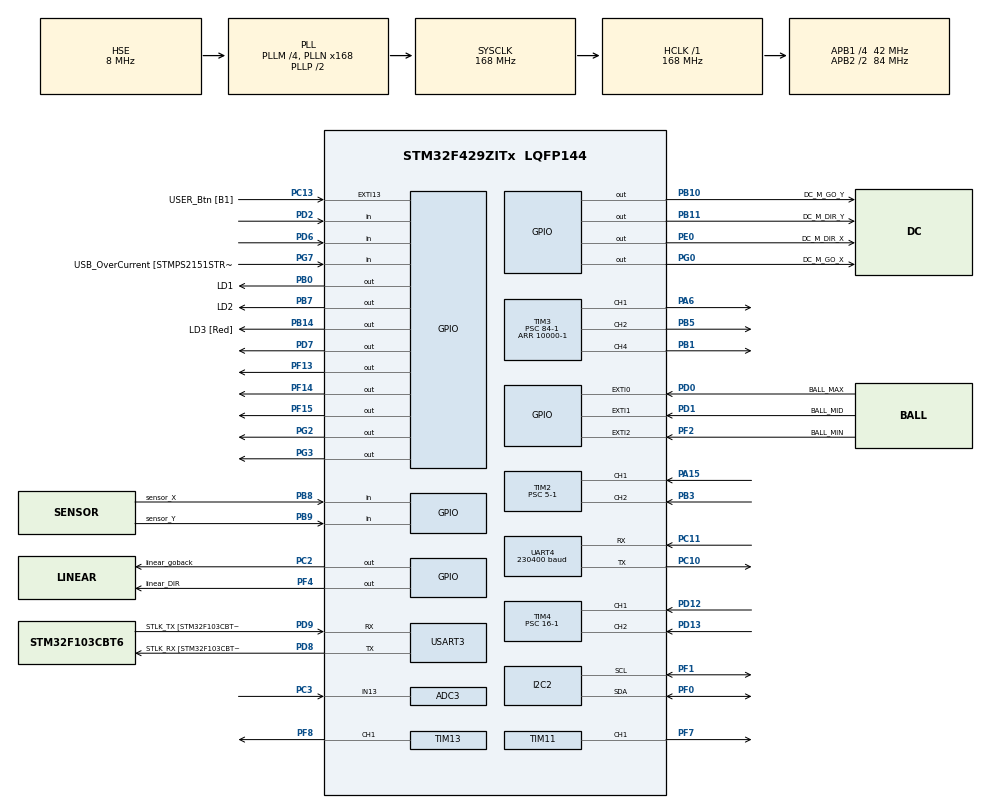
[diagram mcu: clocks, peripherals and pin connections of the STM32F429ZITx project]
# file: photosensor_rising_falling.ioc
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ADC3.Channel-3\#ChannelRegularConversion=ADC_CHANNEL_13
ADC3.Channel-4\#ChannelRegularConversion=ADC_CHANNEL_10
ADC3.Channel-5\#ChannelRegularConversion=ADC_CHANNEL_11
ADC3.ContinuousConvMode=DISABLE
ADC3.DMAContinuousRequests=ENABLE
ADC3.DiscontinuousConvMode=ENABLE
ADC3.ExternalTrigConv=ADC_EXTERNALTRIGCONV_T8_TRGO
ADC3.NbrOfConversion=3
ADC3.NbrOfConversionFlag=1
ADC3.NbrOfDiscConversion=3
ADC3.Rank-3\#ChannelRegularConversion=1
ADC3.Rank-4\#ChannelRegularConversion=2
ADC3.Rank-5\#ChannelRegularConversion=3
ADC3.Resolution=ADC_RESOLUTION_12B
ADC3.SamplingTime-3\#ChannelRegularConversion=ADC_SAMPLETIME_480CYCLES
ADC3.SamplingTime-4\#ChannelRegularConversion=ADC_SAMPLETIME_480CYCLES
ADC3.SamplingTime-5\#ChannelRegularConversion=ADC_SAMPLETIME_480CYCLES
ADC3.ScanConvMode=ENABLE
Dma.ADC3.0.Direction=DMA_PERIPH_TO_MEMORY
Dma.ADC3.0.FIFOMode=DMA_FIFOMODE_DISABLE
Dma.ADC3.0.Instance=DMA2_Stream1
Dma.ADC3.0.MemDataAlignment=DMA_MDATAALIGN_HALFWORD
Dma.ADC3.0.MemInc=DMA_MINC_ENABLE
Dma.ADC3.0.Mode=DMA_CIRCULAR
Dma.ADC3.0.PeriphDataAlignment=DMA_PDATAALIGN_HALFWORD
Dma.ADC3.0.PeriphInc=DMA_PINC_DISABLE
Dma.ADC3.0.Priority=DMA_PRIORITY_LOW
Dma.Request0=ADC3
Mcu.Family=STM32F4
Mcu.Name=STM32F429ZITx
Mcu.Package=LQFP144
NVIC.ADC_IRQn=true\:14\:0\:true\:false\:true\:true\:true\:true
NVIC.DMA2_Stream1_IRQn=true\:0\:0\:false\:false\:true\:false\:true\:true
NVIC.EXTI0_IRQn=true\:2\:0\:true\:false\:true\:true\:true\:true
NVIC.EXTI15_10_IRQn=true\:0\:0\:false\:false\:true\:true\:true\:true
NVIC.EXTI1_IRQn=true\:2\:0\:true\:false\:true\:true\:true\:true
NVIC.EXTI2_IRQn=true\:2\:0\:true\:false\:true\:true\:true\:true
NVIC.PriorityGroup=NVIC_PRIORITYGROUP_4
NVIC.TIM1_TRG_COM_TIM11_IRQn=true\:0\:0\:true\:false\:true\:true\:true\:true
NVIC.TIM5_IRQn=true\:0\:0\:false\:false\:true\:true\:true\:true
NVIC.TIM6_DAC_IRQn=true\:0\:0\:true\:false\:true\:true\:true\:true
NVIC.TIM7_IRQn=true\:0\:0\:true\:false\:true\:true\:true\:true
NVIC.TIM8_TRG_COM_TIM14_IRQn=true\:0\:0\:true\:false\:true\:true\:true\:true
NVIC.TIM8_UP_TIM13_IRQn=true\:0\:0\:true\:false\:true\:true\:true\:true
NVIC.UART4_IRQn=true\:15\:0\:true\:false\:true\:true\:true\:true
NVIC.USART3_IRQn=true\:15\:0\:true\:false\:true\:true\:true\:true
PA13.GPIO_Label=TMS
PA13.Mode=Serial_Wire
PA13.Signal=SYS_JTMS-SWDIO
PA14.GPIO_Label=TCK
PA14.Mode=Serial_Wire
PA14.Signal=SYS_JTCK-SWCLK
PA15.GPIO_Speed=GPIO_SPEED_FREQ_VERY_HIGH
PA15.Signal=S_TIM2_CH1_ETR
PA6.GPIO_Speed=GPIO_SPEED_FREQ_VERY_HIGH
PA6.Signal=S_TIM3_CH1
PB0.GPIO_Label=LD1
PB0.Signal=GPIO_Output
PB1.GPIO_Speed=GPIO_SPEED_FREQ_VERY_HIGH
PB1.Signal=S_TIM3_CH4
PB10.GPIO_Label=DC_M_GO_Y
PB10.GPIO_Speed=GPIO_SPEED_FREQ_LOW
PB10.Signal=GPIO_Output
PB11.GPIO_Label=DC_M_DIR_Y
PB11.GPIO_Speed=GPIO_SPEED_FREQ_VERY_HIGH
PB11.Signal=GPIO_Output
PB14.GPIO_Label=LD3 [Red]
PB14.Signal=GPIO_Output
PB3.GPIO_Speed=GPIO_SPEED_FREQ_VERY_HIGH
PB3.Signal=S_TIM2_CH2
PB5.GPIO_Speed=GPIO_SPEED_FREQ_VERY_HIGH
PB5.Signal=S_TIM3_CH2
PB7.GPIO_Label=LD2
PB7.Signal=GPIO_Output
PB8.GPIO_Label=sensor_X
PB8.Signal=GPIO_Input
PB9.GPIO_Label=sensor_Y
PB9.Signal=GPIO_Input
PC10.Mode=Asynchronous
PC10.Signal=UART4_TX
PC11.Mode=Asynchronous
PC11.Signal=UART4_RX
PC13.GPIO_Label=USER_Btn [B1]
PC13.Signal=GPXTI13
PC14/OSC32_IN.Mode=LSE-External-Oscillator
PC14/OSC32_IN.Signal=RCC_OSC32_IN
PC15/OSC32_OUT.Mode=LSE-External-Oscillator
PC15/OSC32_OUT.Signal=RCC_OSC32_OUT
PC2.GPIO_Label=linear_goback
PC2.Signal=GPIO_Output
PC3.Signal=ADCx_IN13
PD0.GPIO_Label=BALL_MAX
PD0.GPIO_ModeDefaultEXTI=GPIO_MODE_IT_FALLING
PD0.Signal=GPXTI0
PD1.GPIO_Label=BALL_MID
PD1.GPIO_ModeDefaultEXTI=GPIO_MODE_IT_FALLING
PD1.Signal=GPXTI1
PD12.GPIO_Speed=GPIO_SPEED_FREQ_VERY_HIGH
PD12.Signal=S_TIM4_CH1
PD13.GPIO_Speed=GPIO_SPEED_FREQ_VERY_HIGH
PD13.Signal=S_TIM4_CH2
PD2.Signal=GPIO_Input
PD6.Signal=GPIO_Input
PD7.Signal=GPIO_Output
PD8.GPIO_Label=STLK_RX [STM32F103CBT6_PA3]
PD8.Mode=Asynchronous
PD8.Signal=USART3_TX
PD9.GPIO_Label=STLK_TX [STM32F103CBT6_PA2]
PD9.Mode=Asynchronous
PD9.Signal=USART3_RX
PE0.GPIO_Label=DC_M_DIR_X
PE0.GPIO_Speed=GPIO_SPEED_FREQ_VERY_HIGH
PE0.Signal=GPIO_Output
PF0.Mode=I2C
PF0.Signal=I2C2_SDA
PF1.Mode=I2C
PF1.Signal=I2C2_SCL
PF13.Signal=GPIO_Output
PF14.Signal=GPIO_Output
PF15.Signal=GPIO_Output
PF2.GPIO_Label=BALL_MIN
PF2.Signal=GPXTI2
PF4.GPIO_Label=linear_DIR
PF4.Signal=GPIO_Output
PF7.GPIO_Speed=GPIO_SPEED_FREQ_VERY_HIGH
PF7.Signal=S_TIM11_CH1
PF8.GPIO_Speed=GPIO_SPEED_FREQ_VERY_HIGH
PF8.Signal=S_TIM13_CH1
PG0.GPIO_Label=DC_M_GO_X
PG0.GPIO_Speed=GPIO_SPEED_FREQ_LOW
PG0.Signal=GPIO_Output
PG2.Signal=GPIO_Output
PG3.Signal=GPIO_Output
PG7.GPIO_Label=USB_OverCurrent [STMPS2151STR_FAULT]
PG7.Signal=GPIO_Input
PH0/OSC_IN.GPIO_Label=MCO [STM32F103CBT6_PA8]
PH0/OSC_IN.Mode=HSE-External-Clock-Source
PH0/OSC_IN.Signal=RCC_OSC_IN
PH1/OSC_OUT.Mode=HSE-External-Clock-Source
PH1/OSC_OUT.Signal=RCC_OSC_OUT
ProjectManager.HeapSize=0x200
ProjectManager.StackSize=0x400
ProjectManager.TargetToolchain=STM32CubeIDE
RCC.48MHZClocksFreq_Value=48000000
RCC.AHBFreq_Value=168000000
RCC.APB1CLKDivider=RCC_HCLK_DIV4
RCC.APB1Freq_Value=42000000
RCC.APB1TimFreq_Value=84000000
RCC.APB2CLKDivider=RCC_HCLK_DIV2
RCC.APB2Freq_Value=84000000
RCC.APB2TimCLKDivider=2
RCC.APB2TimFreq_Value=168000000
RCC.CortexFreq_Value=168000000
RCC.HCLKFreq_Value=168000000
RCC.HSE_VALUE=8000000
RCC.HSI_VALUE=16000000
RCC.PLLM=4
RCC.PLLMUL=RCC_PLL_MUL9
RCC.PLLN=168
RCC.PLLQ=7
RCC.PLLSourceVirtual=RCC_PLLSOURCE_HSE
RCC.PRESCALERUSB=RCC_USBCLKSOURCE_PLL_DIV1_5
RCC.SYSCLKFreq_VALUE=168000000
RCC.SYSCLKSource=RCC_SYSCLKSOURCE_PLLCLK
RCC.SYSCLKSourceVirtual=RCC_SYSCLKSOURCE_PLLCLK
RCC.USBFreq_Value=48000000
RCC.VCOOutputFreq_Value=336000000
SH.ADCx_IN13.0=ADC3_IN13,IN13
SH.S_TIM11_CH1.0=TIM11_CH1,Output Compare1 CH1
SH.S_TIM13_CH1.0=TIM13_CH1,Output Compare1 CH1
SH.S_TIM2_CH1_ETR.0=TIM2_CH1,Encoder_Interface
SH.S_TIM2_CH2.0=TIM2_CH2,Encoder_Interface
SH.S_TIM3_CH1.0=TIM3_CH1,PWM Generation1 CH1
SH.S_TIM3_CH2.0=TIM3_CH2,PWM Generation2 CH2
SH.S_TIM3_CH4.0=TIM3_CH4,PWM Generation4 CH4
SH.S_TIM4_CH1.0=TIM4_CH1,Encoder_Interface
SH.S_TIM4_CH2.0=TIM4_CH2,Encoder_Interface
TIM11.AutoReloadPreload=TIM_AUTORELOAD_PRELOAD_ENABLE
TIM11.Channel=TIM_CHANNEL_1
TIM11.OCMode_1=TIM_OCMODE_TOGGLE
TIM11.Period=800-1
TIM11.Prescaler=168-1
TIM11.Pulse=50
TIM12.Prescaler=42-1
TIM13.AutoReloadPreload=TIM_AUTORELOAD_PRELOAD_ENABLE
TIM13.Channel=TIM_CHANNEL_1
TIM13.OC1Preload=ENABLE
TIM13.OCMode_1=TIM_OCMODE_TOGGLE
TIM13.Period=800-1
TIM13.Prescaler=84-1
TIM13.Pulse=130
TIM14.Period=10000-1
TIM14.Prescaler=84-1
TIM2.EncoderMode=TIM_ENCODERMODE_TI12
TIM2.Period=0xffffffff
TIM2.Prescaler=5-1
TIM3.Channel-PWM\ Generation1\ CH1=TIM_CHANNEL_1
TIM3.Channel-PWM\ Generation2\ CH2=TIM_CHANNEL_2
TIM3.Channel-PWM\ Generation4\ CH4=TIM_CHANNEL_4
TIM3.Period=10000-1
TIM3.Prescaler=84-1
TIM3.Pulse-PWM\ Generation1\ CH1=600
TIM3.Pulse-PWM\ Generation2\ CH2=600
TIM3.Pulse-PWM\ Generation4\ CH4=0
TIM4.EncoderMode=TIM_ENCODERMODE_TI12
TIM4.Period=0xFFFF-1
TIM4.Prescaler=16-1
TIM5.Period=10000-1
TIM5.Prescaler=84-1
TIM6.Period=1000-1
TIM6.Prescaler=84-1
TIM7.Period=100-1
TIM7.Prescaler=84-1
TIM8.Channel-Output\ Compare4\ No\ Output=TIM_CHANNEL_4
TIM8.Period=300-1
TIM8.Prescaler=84-1
TIM8.Pulse-Output\ Compare4\ No\ Output=2000
TIM8.TIM_MasterOutputTrigger=TIM_TRGO_UPDATE
UART4.BaudRate=230400
UART4.Parity=PARITY_EVEN
UART4.VirtualMode=Asynchronous
USART3.VirtualMode=VM_ASYNC
VP_TIM11_VS_ClockSourceINT.Mode=Enable_Timer
VP_TIM12_VS_ClockSourceINT.Mode=Internal
VP_TIM13_VS_ClockSourceINT.Mode=Enable_Timer
VP_TIM14_VS_ClockSourceINT.Mode=Enable_Timer
VP_TIM3_VS_ClockSourceINT.Mode=Internal
VP_TIM5_VS_ClockSourceINT.Mode=Internal
VP_TIM6_VS_ClockSourceINT.Mode=Enable_Timer
VP_TIM7_VS_ClockSourceINT.Mode=Enable_Timer
VP_TIM8_VS_ClockSourceINT.Mode=Internal
VP_TIM8_VS_no_output4.Mode=Output Compare4 No Output
board=NUCLEO-F429ZI

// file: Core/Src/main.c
/* USER CODE BEGIN Header */
/**
 ******************************************************************************
 * @file           : main.c
 * @brief          : Main program body
 ******************************************************************************
 * @attention
 *
 * Copyright (c) 2024 STMicroelectronics.
 * All rights reserved.
 *
 * This software is licensed under terms that can be found in the LICENSE file
 * in the root directory of this software component.
 * If no LICENSE file comes with this software, it is provided AS-IS.
 *
 ******************************************************************************
 */
/* USER CODE END Header */
#include "main.h"

/* USER CODE BEGIN Includes */
#include "pid.h"
#include "sensor.h"
#include "step.h"
#include "linear.h"
#include "pp.h"
#include "mpu6050.h"

uint8_t key_value;

uint8_t data;

uint32_t encoder_count_x = 1000000;
uint16_t encoder_count_y = 30000;
extern uint32_t tim4_encoder_overflow;

uint16_t ADC3_value[3];

extern uint8_t tim6_flag;
extern uint8_t tim14_flag;
extern uint8_t tim5_flag;
/* USER CODE END Includes */

/* USER CODE BEGIN PM */
extern uint16_t shaft_pulse_cycle;
extern uint16_t ball_screw_pulse_cycle;
/* USER CODE END PM */

ADC_HandleTypeDef hadc3;
DMA_HandleTypeDef hdma_adc3;

I2C_HandleTypeDef hi2c2;

TIM_HandleTypeDef htim2;
TIM_HandleTypeDef htim3;
TIM_HandleTypeDef htim4;
TIM_HandleTypeDef htim5;
TIM_HandleTypeDef htim6;
TIM_HandleTypeDef htim7;
TIM_HandleTypeDef htim8;
TIM_HandleTypeDef htim11;
TIM_HandleTypeDef htim12;
TIM_HandleTypeDef htim13;
TIM_HandleTypeDef htim14;

UART_HandleTypeDef huart4;
UART_HandleTypeDef huart3;

void SystemClock_Config(void);
static void MX_GPIO_Init(void);
static void MX_DMA_Init(void);
static void MX_USART3_UART_Init(void);
static void MX_TIM3_Init(void);
static void MX_TIM14_Init(void);
static void MX_UART4_Init(void);
static void MX_TIM2_Init(void);
static void MX_TIM8_Init(void);
static void MX_TIM6_Init(void);
static void MX_TIM13_Init(void);
static void MX_ADC3_Init(void);
static void MX_TIM12_Init(void);
static void MX_TIM11_Init(void);
static void MX_TIM4_Init(void);
static void MX_TIM7_Init(void);
static void MX_TIM5_Init(void);
static void MX_I2C2_Init(void);
/* USER CODE BEGIN PFP */

struct {
	bool target_2_1;
	bool target_3_1;
	bool target_1_2;
	bool target_2_2;
	bool target_3_2;
} Manual_mode = { FALSE, FALSE, FALSE };

struct flag Finish_flag = { FALSE, FALSE, FALSE, FALSE, FALSE, FALSE, FALSE, 0,
		0, FALSE, FALSE };

float targetS_X_GO = 52;
float targetS_X_BACK = 52;

float targetS_Y_GO = 52;
float targetS_Y_BACK = 52;
float go_time = 1.0;
float back_time = 1.3;

/* USER CODE END PFP */

/* USER CODE BEGIN 0 */

extern int pathLength;

cell path[CELL_DOMAIN_MAX];

extern uint32_t save_X_IN;

extern float maxV;
extern float fallingN;
extern float fallingN_;
extern float raisingN;
extern float staticN;
extern float orderN;
extern uint16_t i_v_t_count;

uint8_t target_1_2_flag=0;
uint8_t target_2_1_flag=0;

void FALSE_Init() {
	Finish_flag.x_go = FALSE;
	Finish_flag.x_back = FALSE;
	Finish_flag.y_go = FALSE;
	Finish_flag.y_back = FALSE;
	Finish_flag.ball_high = FALSE;
	Finish_flag.ball_mid = FALSE;
	Finish_flag.ball_low = FALSE;
	Finish_flag.downpart_high = 0;
	Finish_flag.downpart_low = 0;
	Finish_flag.linear_go = FALSE;
	Finish_flag.linear_back = FALSE;

	target_1_2_flag=0;
	target_2_1_flag=0;
}

//수동 모드 경우의 수는 3가지: x만 이동, y만 이동, xy이동
//void Manual_Mode_Y(float row, float col) {
//
//	if (Manual_mode.target_1_2 == TRUE) { //y축 1칸 왕복,  볼스크류 왕복  다운파트 생략 ,
//
//		if(	target_1_2_flag == 0)
//		{
//			v_t_graph_DIR_GO_Y(targetS_Y_GO * col);  //앞으로
//			target_1_2_flag=1;
//		}
//
//		if (Finish_flag.y_go == TRUE) {
//			target_1_2_flag=2;
//			HAL_Delay(700 - 1);
//			z_axis_UP(400 * 6 * 2, ball_screw_pulse_cycle);
//
//			Finish_flag.y_go = FALSE;
//		}
//		if ((Finish_flag.ball_high == TRUE) &&  (target_1_2_flag ==2) ) {
//			target_1_2_flag=3;
//			HAL_Delay(700 - 1);
//			z_axis_DOWN(400 * 6 * 2, ball_screw_pulse_cycle);
//
//			Finish_flag.ball_high = FALSE;
//		}
//		if ((Finish_flag.ball_low == TRUE) && (target_1_2_flag ==3) ) {
//
//			HAL_Delay(700 - 1);
//			v_t_graph_DIR_BACK_Y(targetS_Y_BACK * col);
//
//			FALSE_Init();
//			Manual_mode.target_1_2 = FALSE;
//
//
//		}
//	}
//}

//y축 1칸 왕복,  볼스크류 왕복  다운파트 생략 ,
void Manual_Mode_Y(float row, float col) {  //볼스크류 먼저 >> y 이동

	if (Manual_mode.target_1_2 == TRUE) {

		if(	target_1_2_flag == 0)
		{
			//v_t_graph_DIR_GO_Y(targetS_Y_GO * col);  //앞으로
			z_axis_UP(400 * 6 * 2, ball_screw_pulse_cycle);
			target_1_2_flag=1;
		}

		if ((Finish_flag.ball_high == TRUE) &&  (target_1_2_flag ==1) ) {
			target_1_2_flag=2;
			HAL_Delay(700 - 1);
			v_t_graph_DIR_GO_Y(targetS_Y_GO * (col-1) );  //앞으로

			Finish_flag.ball_high = FALSE;
		}
		if ((Finish_flag.y_go == TRUE) &&  (target_1_2_flag ==2) ) {
			target_1_2_flag=3;
			HAL_Delay(700 - 1);

			v_t_graph_DIR_BACK_Y(targetS_Y_BACK * (col-1) );
			Finish_flag.y_go = FALSE;
		}
		if ((Finish_flag.y_back == TRUE) && (target_1_2_flag ==3) ) {

			HAL_Delay(700 - 1);
			z_axis_DOWN(400 * 6 * 2, ball_screw_pulse_cycle);

			FALSE_Init();
			Manual_mode.target_1_2 = FALSE;

		}
	}
}
//(2,1)  (3,1)    여기는 볼스크류 필요없음  , 다운파트 나중
void Manual_Mode_X(float row, float col) {   // x전진 , x후진 끝

	if ((Manual_mode.target_2_1 == TRUE) || (Manual_mode.target_3_1 == TRUE)) {

		if(	target_2_1_flag == 0)
		{
			v_t_graph_DIR_GO_X(targetS_X_GO * (row-1) );  //앞으로

			target_2_1_flag=1;
		}

		if ((Finish_flag.x_go == TRUE) && (target_2_1_flag ==1) ){
			target_2_1_flag=2;
			HAL_Delay(700 - 1);
			v_t_graph_DIR_BACK_X(targetS_X_BACK  * (row-1) );  //앞으로

			Finish_flag.x_go = FALSE;
			FALSE_Init();
			Manual_mode.target_2_1 = FALSE;
			Manual_mode.target_3_1 = FALSE;
		}
	}
}

/* USER CODE END 0 */

int main(void)
{

  /* MCU Configuration--------------------------------------------------------*/

  /* Reset of all peripherals, Initializes the Flash interface and the Systick. */
  HAL_Init();

  /* Configure the system clock */
  SystemClock_Config();

  /* Initialize all configured peripherals */
  MX_GPIO_Init();
  MX_DMA_Init();
  MX_USART3_UART_Init();
  MX_TIM3_Init();
  MX_TIM14_Init();
  MX_UART4_Init();
  MX_TIM2_Init();
  MX_TIM8_Init();
  MX_TIM6_Init();
  MX_TIM13_Init();
  MX_ADC3_Init();
  MX_TIM12_Init();
  MX_TIM11_Init();
  MX_TIM4_Init();
  MX_TIM7_Init();
  MX_TIM5_Init();
  MX_I2C2_Init();
  /* USER CODE BEGIN 2 */

	MPU6050_Init();

	HAL_UART_Receive_IT(&huart3, &key_value, 1);
	HAL_UART_Receive_IT(&huart4, &data, 1);

	HAL_ADC_Start_DMA(&hadc3, (uint32_t*) ADC3_value, 3);

	HAL_TIM_Base_Start_IT(&htim6);  //pid
	HAL_TIM_Base_Start_IT(&htim7);  //센서
	HAL_TIM_Base_Start_IT(&htim14);  //RPM
	HAL_TIM_Base_Start_IT(&htim5);  //vt

	HAL_TIM_Encoder_Start(&htim2, TIM_CHANNEL_ALL);

	HAL_TIM_Encoder_Start(&htim4, TIM_CHANNEL_ALL);
	HAL_TIM_Base_Start_IT(&htim4);

	HAL_TIM_Base_Start(&htim12);  //초음파 센서
	HAL_TIM_Base_Start_IT(&htim8);  //ADC 타이머

	HAL_TIM_PWM_Start(&htim3, TIM_CHANNEL_1);
	HAL_TIM_PWM_Start(&htim3, TIM_CHANNEL_2);
	HAL_TIM_PWM_Start(&htim3, TIM_CHANNEL_4);
	setvbuf(stdin, NULL, _IONBF, 0);

	gridInit(IsEmpty);
	setDpp(0, 0, 5, 5); //0,0 에서 1,2로
	readPath(lpp(), path);

  /* USER CODE END 2 */

  /* Infinite loop */
	while (1) {

    /* USER CODE BEGIN 3 */

//		encoder_count_x = TIM2->CNT;  //32bit timer
//		encoder_count_y = TIM4->CNT;
		//+ tim4_encoder_overflow; //16bit timer 에서 32비트로

//		printf("%d %d\r\n",save_X_IN,encoder_count_x);

		if (tim6_flag == 1)  //1ms
		{
			distance_sensor();  //거리 센서
	//		MPU6050_Read_Accel();  //MPU떄문에 거리센서 평균이 계산이 느려짐
	//		MPU6050_Read_Gyro();

			tim6_flag = 0;
		}
#if 0
		//수동 조작
		if (Manual_mode.target_2_2 == TRUE) { //ㄱ자 이동

			v_t_graph_DIR_GO_X(targetS_X_GO);  //앞으로  // 출발 신호 밑으로 내릴 것

			if (Finish_flag.x_go == TRUE) {
				HAL_Delay(500 - 1);
				z_axis_DOWN(400 * 6 * 2, ball_screw_pulse_cycle);

				if (Finish_flag.ball_low == TRUE) {
					HAL_Delay(500 - 1);
					v_t_graph_DIR_GO_Y(targetS_Y_GO);  //앞으로

					if (Finish_flag.y_go == TRUE) {
						HAL_Delay(500 - 1);
						//다운 파트 임의 설정
						down_part_DOWN(4000, shaft_pulse_cycle);

						if (Finish_flag.downpart_low >= 1) {
							HAL_Delay(500 - 1);
							linear_motor_GO(go_time);

							if (Finish_flag.linear_go == TRUE) {
								HAL_Delay(500 - 1);
								down_part_UP(4000, shaft_pulse_cycle);

								if (Finish_flag.downpart_high >= 1) {
									HAL_Delay(500 - 1);
									v_t_graph_DIR_BACK_Y(targetS_Y_BACK); //y 후진

									if (Finish_flag.y_back == TRUE) {
										HAL_Delay(500 - 1);
										z_axis_UP(400 * 6 * 2,
												ball_screw_pulse_cycle);

										if (Finish_flag.ball_high == TRUE) {
											HAL_Delay(500 - 1);
											v_t_graph_DIR_BACK_X(
													targetS_X_BACK); //앞으로      //초기 위치로

											if (Finish_flag.x_back == TRUE) {
												HAL_Delay(500 - 1);
												down_part_DOWN(4000,
														shaft_pulse_cycle);

												if (Finish_flag.downpart_low
														== 2) {
													HAL_Delay(500 - 1);
													linear_motor_BACK(
															back_time);

													if (Finish_flag.linear_back
															== TRUE) {
														HAL_Delay(500 - 1);
														down_part_UP(4000,
																shaft_pulse_cycle);

														FALSE_Init();
														Manual_mode.target_2_2 =
																FALSE;
													}
												}
											}
										}
									}
								}
							}
						}
					}
				}
			}
		}
#endif
		Manual_Mode_Y(1,2);
		if(key_value == '!') Manual_Mode_X(2,1);

		if(key_value == '@') Manual_Mode_X(3,1);

		/*		if(Manual_mode.target_1_2 == TRUE){ //y축 1칸 왕복,  볼스크류 왕복  다운파트 생략 ,

		 if(Finish_flag.y_go ==TRUE)
		 {
		 HAL_Delay(700-1);
		 z_axis_UP(450 * 6*2, ball_screw_pulse_cycle);

		 if(Finish_flag.ball_high == TRUE)
		 {
		 HAL_TIM_OC_Stop_IT(&htim11,TIM_CHANNEL_1);  // 타이머 정지
		 HAL_GPIO_WritePin(GPIOG, GPIO_PIN_2, 1);  //정지

		 //	HAL_Delay(700-1);
		 z_axis_DOWN(450 * 6*2, ball_screw_pulse_cycle);

		 if(Finish_flag.ball_low == TRUE)
		 {

		 HAL_Delay(700-1);
		 v_t_graph_DIR_BACK_Y(targetS_Y_BACK);

		 FALSE_Init();
		 Manual_mode.target_1_2 = FALSE;
		 }
		 }

		 //FALSE_Init();
		 //Manual_mode.target_2_1 = FALSE;
		 }
		 //			if(Finish_flag.y_go ==TRUE)
		 //			{
		 //				HAL_Delay(700-1);
		 //				v_t_graph_DIR_BACK_Y(targetS_Y_BACK);  //앞으로
		 //
		 //				FALSE_Init();
		 //				Manual_mode.target_1_2 = FALSE;
		 //			}
		 }
		 */

	}
  /* USER CODE END 3 */
}

void SystemClock_Config(void)
{
  RCC_OscInitTypeDef RCC_OscInitStruct = {0};
  RCC_ClkInitTypeDef RCC_ClkInitStruct = {0};

  /** Configure the main internal regulator output voltage
  */
  __HAL_RCC_PWR_CLK_ENABLE();
  __HAL_PWR_VOLTAGESCALING_CONFIG(PWR_REGULATOR_VOLTAGE_SCALE1);

  /** Initializes the RCC Oscillators according to the specified parameters
  * in the RCC_OscInitTypeDef structure.
  */
  RCC_OscInitStruct.OscillatorType = RCC_OSCILLATORTYPE_HSE;
  RCC_OscInitStruct.HSEState = RCC_HSE_BYPASS;
  RCC_OscInitStruct.PLL.PLLState = RCC_PLL_ON;
  RCC_OscInitStruct.PLL.PLLSource = RCC_PLLSOURCE_HSE;
  RCC_OscInitStruct.PLL.PLLM = 4;
  RCC_OscInitStruct.PLL.PLLN = 168;
  RCC_OscInitStruct.PLL.PLLP = RCC_PLLP_DIV2;
  RCC_OscInitStruct.PLL.PLLQ = 7;
  if (HAL_RCC_OscConfig(&RCC_OscInitStruct) != HAL_OK)
  {
    Error_Handler();
  }

  /** Initializes the CPU, AHB and APB buses clocks
  */
  RCC_ClkInitStruct.ClockType = RCC_CLOCKTYPE_HCLK|RCC_CLOCKTYPE_SYSCLK
                              |RCC_CLOCKTYPE_PCLK1|RCC_CLOCKTYPE_PCLK2;
  RCC_ClkInitStruct.SYSCLKSource = RCC_SYSCLKSOURCE_PLLCLK;
  RCC_ClkInitStruct.AHBCLKDivider = RCC_SYSCLK_DIV1;
  RCC_ClkInitStruct.APB1CLKDivider = RCC_HCLK_DIV4;
  RCC_ClkInitStruct.APB2CLKDivider = RCC_HCLK_DIV2;

  if (HAL_RCC_ClockConfig(&RCC_ClkInitStruct, FLASH_LATENCY_5) != HAL_OK)
  {
    Error_Handler();
  }
}

static void MX_ADC3_Init(void)
{

  ADC_ChannelConfTypeDef sConfig = {0};

  /** Configure the global features of the ADC (Clock, Resolution, Data Alignment and number of conversion)
  */
  hadc3.Instance = ADC3;
  hadc3.Init.ClockPrescaler = ADC_CLOCK_SYNC_PCLK_DIV4;
  hadc3.Init.Resolution = ADC_RESOLUTION_12B;
  hadc3.Init.ScanConvMode = ENABLE;
  hadc3.Init.ContinuousConvMode = DISABLE;
  hadc3.Init.DiscontinuousConvMode = ENABLE;
  hadc3.Init.NbrOfDiscConversion = 3;
  hadc3.Init.ExternalTrigConvEdge = ADC_EXTERNALTRIGCONVEDGE_RISING;
  hadc3.Init.ExternalTrigConv = ADC_EXTERNALTRIGCONV_T8_TRGO;
  hadc3.Init.DataAlign = ADC_DATAALIGN_RIGHT;
  hadc3.Init.NbrOfConversion = 3;
  hadc3.Init.DMAContinuousRequests = ENABLE;
  hadc3.Init.EOCSelection = ADC_EOC_SINGLE_CONV;
  if (HAL_ADC_Init(&hadc3) != HAL_OK)
  {
    Error_Handler();
  }

  /** Configure for the selected ADC regular channel its corresponding rank in the sequencer and its sample time.
  */
  sConfig.Channel = ADC_CHANNEL_13;
  sConfig.Rank = 1;
  sConfig.SamplingTime = ADC_SAMPLETIME_480CYCLES;
  if (HAL_ADC_ConfigChannel(&hadc3, &sConfig) != HAL_OK)
  {
    Error_Handler();
  }

  /** Configure for the selected ADC regular channel its corresponding rank in the sequencer and its sample time.
  */
  sConfig.Channel = ADC_CHANNEL_10;
  sConfig.Rank = 2;
  if (HAL_ADC_ConfigChannel(&hadc3, &sConfig) != HAL_OK)
  {
    Error_Handler();
  }

  /** Configure for the selected ADC regular channel its corresponding rank in the sequencer and its sample time.
  */
  sConfig.Channel = ADC_CHANNEL_11;
  sConfig.Rank = 3;
  if (HAL_ADC_ConfigChannel(&hadc3, &sConfig) != HAL_OK)
  {
    Error_Handler();
  }

}

static void MX_I2C2_Init(void)
{

  hi2c2.Instance = I2C2;
  hi2c2.Init.ClockSpeed = 100000;
  hi2c2.Init.DutyCycle = I2C_DUTYCYCLE_2;
  hi2c2.Init.OwnAddress1 = 0;
  hi2c2.Init.AddressingMode = I2C_ADDRESSINGMODE_7BIT;
  hi2c2.Init.DualAddressMode = I2C_DUALADDRESS_DISABLE;
  hi2c2.Init.OwnAddress2 = 0;
  hi2c2.Init.GeneralCallMode = I2C_GENERALCALL_DISABLE;
  hi2c2.Init.NoStretchMode = I2C_NOSTRETCH_DISABLE;
  if (HAL_I2C_Init(&hi2c2) != HAL_OK)
  {
    Error_Handler();
  }

  /** Configure Analogue filter
  */
  if (HAL_I2CEx_ConfigAnalogFilter(&hi2c2, I2C_ANALOGFILTER_ENABLE) != HAL_OK)
  {
    Error_Handler();
  }

  /** Configure Digital filter
  */
  if (HAL_I2CEx_ConfigDigitalFilter(&hi2c2, 0) != HAL_OK)
  {
    Error_Handler();
  }

}

static void MX_TIM2_Init(void)
{

  TIM_Encoder_InitTypeDef sConfig = {0};
  TIM_MasterConfigTypeDef sMasterConfig = {0};

  htim2.Instance = TIM2;
  htim2.Init.Prescaler = 5-1;
  htim2.Init.CounterMode = TIM_COUNTERMODE_UP;
  htim2.Init.Period = 0xffffffff;
  htim2.Init.ClockDivision = TIM_CLOCKDIVISION_DIV1;
  htim2.Init.AutoReloadPreload = TIM_AUTORELOAD_PRELOAD_DISABLE;
  sConfig.EncoderMode = TIM_ENCODERMODE_TI12;
  sConfig.IC1Polarity = TIM_ICPOLARITY_RISING;
  sConfig.IC1Selection = TIM_ICSELECTION_DIRECTTI;
  sConfig.IC1Prescaler = TIM_ICPSC_DIV1;
  sConfig.IC1Filter = 0;
  sConfig.IC2Polarity = TIM_ICPOLARITY_RISING;
  sConfig.IC2Selection = TIM_ICSELECTION_DIRECTTI;
  sConfig.IC2Prescaler = TIM_ICPSC_DIV1;
  sConfig.IC2Filter = 0;
  if (HAL_TIM_Encoder_Init(&htim2, &sConfig) != HAL_OK)
  {
    Error_Handler();
  }
  sMasterConfig.MasterOutputTrigger = TIM_TRGO_RESET;
  sMasterConfig.MasterSlaveMode = TIM_MASTERSLAVEMODE_DISABLE;
  if (HAL_TIMEx_MasterConfigSynchronization(&htim2, &sMasterConfig) != HAL_OK)
  {
    Error_Handler();
  }

}

static void MX_TIM3_Init(void)
{

  TIM_ClockConfigTypeDef sClockSourceConfig = {0};
  TIM_MasterConfigTypeDef sMasterConfig = {0};
  TIM_OC_InitTypeDef sConfigOC = {0};

  htim3.Instance = TIM3;
  htim3.Init.Prescaler = 84-1;
  htim3.Init.CounterMode = TIM_COUNTERMODE_UP;
  htim3.Init.Period = 10000-1;
  htim3.Init.ClockDivision = TIM_CLOCKDIVISION_DIV1;
  htim3.Init.AutoReloadPreload = TIM_AUTORELOAD_PRELOAD_DISABLE;
  if (HAL_TIM_Base_Init(&htim3) != HAL_OK)
  {
    Error_Handler();
  }
  sClockSourceConfig.ClockSource = TIM_CLOCKSOURCE_INTERNAL;
  if (HAL_TIM_ConfigClockSource(&htim3, &sClockSourceConfig) != HAL_OK)
  {
    Error_Handler();
  }
  if (HAL_TIM_PWM_Init(&htim3) != HAL_OK)
  {
    Error_Handler();
  }
  sMasterConfig.MasterOutputTrigger = TIM_TRGO_RESET;
  sMasterConfig.MasterSlaveMode = TIM_MASTERSLAVEMODE_DISABLE;
  if (HAL_TIMEx_MasterConfigSynchronization(&htim3, &sMasterConfig) != HAL_OK)
  {
    Error_Handler();
  }
  sConfigOC.OCMode = TIM_OCMODE_PWM1;
  sConfigOC.Pulse = 600;
  sConfigOC.OCPolarity = TIM_OCPOLARITY_HIGH;
  sConfigOC.OCFastMode = TIM_OCFAST_DISABLE;
  if (HAL_TIM_PWM_ConfigChannel(&htim3, &sConfigOC, TIM_CHANNEL_1) != HAL_OK)
  {
    Error_Handler();
  }
  if (HAL_TIM_PWM_ConfigChannel(&htim3, &sConfigOC, TIM_CHANNEL_2) != HAL_OK)
  {
    Error_Handler();
  }
  sConfigOC.Pulse = 0;
  if (HAL_TIM_PWM_ConfigChannel(&htim3, &sConfigOC, TIM_CHANNEL_4) != HAL_OK)
  {
    Error_Handler();
  }
  HAL_TIM_MspPostInit(&htim3);

}

static void MX_TIM4_Init(void)
{

  TIM_Encoder_InitTypeDef sConfig = {0};
  TIM_MasterConfigTypeDef sMasterConfig = {0};

  htim4.Instance = TIM4;
  htim4.Init.Prescaler = 16-1;
  htim4.Init.CounterMode = TIM_COUNTERMODE_UP;
  htim4.Init.Period = 0xFFFF-1;
  htim4.Init.ClockDivision = TIM_CLOCKDIVISION_DIV1;
  htim4.Init.AutoReloadPreload = TIM_AUTORELOAD_PRELOAD_DISABLE;
  sConfig.EncoderMode = TIM_ENCODERMODE_TI12;
  sConfig.IC1Polarity = TIM_ICPOLARITY_RISING;
  sConfig.IC1Selection = TIM_ICSELECTION_DIRECTTI;
  sConfig.IC1Prescaler = TIM_ICPSC_DIV1;
  sConfig.IC1Filter = 0;
  sConfig.IC2Polarity = TIM_ICPOLARITY_RISING;
  sConfig.IC2Selection = TIM_ICSELECTION_DIRECTTI;
  sConfig.IC2Prescaler = TIM_ICPSC_DIV1;
  sConfig.IC2Filter = 0;
  if (HAL_TIM_Encoder_Init(&htim4, &sConfig) != HAL_OK)
  {
    Error_Handler();
  }
  sMasterConfig.MasterOutputTrigger = TIM_TRGO_RESET;
  sMasterConfig.MasterSlaveMode = TIM_MASTERSLAVEMODE_DISABLE;
  if (HAL_TIMEx_MasterConfigSynchronization(&htim4, &sMasterConfig) != HAL_OK)
  {
    Error_Handler();
  }

}

static void MX_TIM5_Init(void)
{

  TIM_ClockConfigTypeDef sClockSourceConfig = {0};
  TIM_MasterConfigTypeDef sMasterConfig = {0};

  htim5.Instance = TIM5;
  htim5.Init.Prescaler = 84-1;
  htim5.Init.CounterMode = TIM_COUNTERMODE_UP;
  htim5.Init.Period = 10000-1;
  htim5.Init.ClockDivision = TIM_CLOCKDIVISION_DIV1;
  htim5.Init.AutoReloadPreload = TIM_AUTORELOAD_PRELOAD_DISABLE;
  if (HAL_TIM_Base_Init(&htim5) != HAL_OK)
  {
    Error_Handler();
  }
  sClockSourceConfig.ClockSource = TIM_CLOCKSOURCE_INTERNAL;
  if (HAL_TIM_ConfigClockSource(&htim5, &sClockSourceConfig) != HAL_OK)
  {
    Error_Handler();
  }
  sMasterConfig.MasterOutputTrigger = TIM_TRGO_RESET;
  sMasterConfig.MasterSlaveMode = TIM_MASTERSLAVEMODE_DISABLE;
  if (HAL_TIMEx_MasterConfigSynchronization(&htim5, &sMasterConfig) != HAL_OK)
  {
    Error_Handler();
  }

}

static void MX_TIM6_Init(void)
{

  /* USER CODE BEGIN TIM6_Init 0 */
	//0.001s = 1ms
	//PID 샘플링 주기
  /* USER CODE END TIM6_Init 0 */

  TIM_MasterConfigTypeDef sMasterConfig = {0};

  htim6.Instance = TIM6;
  htim6.Init.Prescaler = 84-1;
  htim6.Init.CounterMode = TIM_COUNTERMODE_UP;
  htim6.Init.Period = 1000-1;
  htim6.Init.AutoReloadPreload = TIM_AUTORELOAD_PRELOAD_DISABLE;
  if (HAL_TIM_Base_Init(&htim6) != HAL_OK)
  {
    Error_Handler();
  }
  sMasterConfig.MasterOutputTrigger = TIM_TRGO_RESET;
  sMasterConfig.MasterSlaveMode = TIM_MASTERSLAVEMODE_DISABLE;
  if (HAL_TIMEx_MasterConfigSynchronization(&htim6, &sMasterConfig) != HAL_OK)
  {
    Error_Handler();
  }

}

static void MX_TIM7_Init(void)
{

  TIM_MasterConfigTypeDef sMasterConfig = {0};

  htim7.Instance = TIM7;
  htim7.Init.Prescaler = 84-1;
  htim7.Init.CounterMode = TIM_COUNTERMODE_UP;
  htim7.Init.Period = 100-1;
  htim7.Init.AutoReloadPreload = TIM_AUTORELOAD_PRELOAD_DISABLE;
  if (HAL_TIM_Base_Init(&htim7) != HAL_OK)
  {
    Error_Handler();
  }
  sMasterConfig.MasterOutputTrigger = TIM_TRGO_RESET;
  sMasterConfig.MasterSlaveMode = TIM_MASTERSLAVEMODE_DISABLE;
  if (HAL_TIMEx_MasterConfigSynchronization(&htim7, &sMasterConfig) != HAL_OK)
  {
    Error_Handler();
  }

}

static void MX_TIM8_Init(void)
{

  /* USER CODE BEGIN TIM8_Init 0 */
	//ADC 측정 타이머 , 나중엔 필요 x
  /* USER CODE END TIM8_Init 0 */

  TIM_ClockConfigTypeDef sClockSourceConfig = {0};
  TIM_MasterConfigTypeDef sMasterConfig = {0};
  TIM_OC_InitTypeDef sConfigOC = {0};
  TIM_BreakDeadTimeConfigTypeDef sBreakDeadTimeConfig = {0};

  htim8.Instance = TIM8;
  htim8.Init.Prescaler = 84-1;
  htim8.Init.CounterMode = TIM_COUNTERMODE_UP;
  htim8.Init.Period = 300-1;
  htim8.Init.ClockDivision = TIM_CLOCKDIVISION_DIV1;
  htim8.Init.RepetitionCounter = 0;
  htim8.Init.AutoReloadPreload = TIM_AUTORELOAD_PRELOAD_DISABLE;
  if (HAL_TIM_Base_Init(&htim8) != HAL_OK)
  {
    Error_Handler();
  }
  sClockSourceConfig.ClockSource = TIM_CLOCKSOURCE_INTERNAL;
  if (HAL_TIM_ConfigClockSource(&htim8, &sClockSourceConfig) != HAL_OK)
  {
    Error_Handler();
  }
  if (HAL_TIM_OC_Init(&htim8) != HAL_OK)
  {
    Error_Handler();
  }
  sMasterConfig.MasterOutputTrigger = TIM_TRGO_UPDATE;
  sMasterConfig.MasterSlaveMode = TIM_MASTERSLAVEMODE_DISABLE;
  if (HAL_TIMEx_MasterConfigSynchronization(&htim8, &sMasterConfig) != HAL_OK)
  {
    Error_Handler();
  }
  sConfigOC.OCMode = TIM_OCMODE_TIMING;
  sConfigOC.Pulse = 2000;
  sConfigOC.OCPolarity = TIM_OCPOLARITY_HIGH;
  sConfigOC.OCFastMode = TIM_OCFAST_DISABLE;
  sConfigOC.OCIdleState = TIM_OCIDLESTATE_RESET;
  sConfigOC.OCNIdleState = TIM_OCNIDLESTATE_RESET;
  if (HAL_TIM_OC_ConfigChannel(&htim8, &sConfigOC, TIM_CHANNEL_4) != HAL_OK)
  {
    Error_Handler();
  }
  sBreakDeadTimeConfig.OffStateRunMode = TIM_OSSR_DISABLE;
  sBreakDeadTimeConfig.OffStateIDLEMode = TIM_OSSI_DISABLE;
  sBreakDeadTimeConfig.LockLevel = TIM_LOCKLEVEL_OFF;
  sBreakDeadTimeConfig.DeadTime = 0;
  sBreakDeadTimeConfig.BreakState = TIM_BREAK_DISABLE;
  sBreakDeadTimeConfig.BreakPolarity = TIM_BREAKPOLARITY_HIGH;
  sBreakDeadTimeConfig.AutomaticOutput = TIM_AUTOMATICOUTPUT_DISABLE;
  if (HAL_TIMEx_ConfigBreakDeadTime(&htim8, &sBreakDeadTimeConfig) != HAL_OK)
  {
    Error_Handler();
  }

}

static void MX_TIM11_Init(void)
{

  TIM_OC_InitTypeDef sConfigOC = {0};

  htim11.Instance = TIM11;
  htim11.Init.Prescaler = 168-1;
  htim11.Init.CounterMode = TIM_COUNTERMODE_UP;
  htim11.Init.Period = 800-1;
  htim11.Init.ClockDivision = TIM_CLOCKDIVISION_DIV1;
  htim11.Init.AutoReloadPreload = TIM_AUTORELOAD_PRELOAD_ENABLE;
  if (HAL_TIM_Base_Init(&htim11) != HAL_OK)
  {
    Error_Handler();
  }
  if (HAL_TIM_OC_Init(&htim11) != HAL_OK)
  {
    Error_Handler();
  }
  sConfigOC.OCMode = TIM_OCMODE_TOGGLE;
  sConfigOC.Pulse = 50;
  sConfigOC.OCPolarity = TIM_OCPOLARITY_HIGH;
  sConfigOC.OCFastMode = TIM_OCFAST_DISABLE;
  if (HAL_TIM_OC_ConfigChannel(&htim11, &sConfigOC, TIM_CHANNEL_1) != HAL_OK)
  {
    Error_Handler();
  }
  HAL_TIM_MspPostInit(&htim11);

}

static void MX_TIM12_Init(void)
{

  /* USER CODE BEGIN TIM12_Init 0 */
	// 초음파 센서
  /* USER CODE END TIM12_Init 0 */

  TIM_ClockConfigTypeDef sClockSourceConfig = {0};

  htim12.Instance = TIM12;
  htim12.Init.Prescaler = 42-1;
  htim12.Init.CounterMode = TIM_COUNTERMODE_UP;
  htim12.Init.Period = 65535;
  htim12.Init.ClockDivision = TIM_CLOCKDIVISION_DIV1;
  htim12.Init.AutoReloadPreload = TIM_AUTORELOAD_PRELOAD_DISABLE;
  if (HAL_TIM_Base_Init(&htim12) != HAL_OK)
  {
    Error_Handler();
  }
  sClockSourceConfig.ClockSource = TIM_CLOCKSOURCE_INTERNAL;
  if (HAL_TIM_ConfigClockSource(&htim12, &sClockSourceConfig) != HAL_OK)
  {
    Error_Handler();
  }

}

static void MX_TIM13_Init(void)
{

  /* USER CODE BEGIN TIM13_Init 0 */
// 테스트 용
  /* USER CODE END TIM13_Init 0 */

  TIM_OC_InitTypeDef sConfigOC = {0};

  htim13.Instance = TIM13;
  htim13.Init.Prescaler = 84-1;
  htim13.Init.CounterMode = TIM_COUNTERMODE_UP;
  htim13.Init.Period = 800-1;
  htim13.Init.ClockDivision = TIM_CLOCKDIVISION_DIV1;
  htim13.Init.AutoReloadPreload = TIM_AUTORELOAD_PRELOAD_ENABLE;
  if (HAL_TIM_Base_Init(&htim13) != HAL_OK)
  {
    Error_Handler();
  }
  if (HAL_TIM_OC_Init(&htim13) != HAL_OK)
  {
    Error_Handler();
  }
  sConfigOC.OCMode = TIM_OCMODE_TOGGLE;
  sConfigOC.Pulse = 130;
  sConfigOC.OCPolarity = TIM_OCPOLARITY_HIGH;
  sConfigOC.OCFastMode = TIM_OCFAST_DISABLE;
  if (HAL_TIM_OC_ConfigChannel(&htim13, &sConfigOC, TIM_CHANNEL_1) != HAL_OK)
  {
    Error_Handler();
  }
  __HAL_TIM_ENABLE_OCxPRELOAD(&htim13, TIM_CHANNEL_1);
  /* USER CODE BEGIN TIM13_Init 2 */
	//HAL_TIM_MspPostInit(&htim13);
  /* USER CODE END TIM13_Init 2 */
  HAL_TIM_MspPostInit(&htim13);

}

static void MX_TIM14_Init(void)
{

  /* USER CODE BEGIN TIM14_Init 0 */
//RPM 측정
  /* USER CODE END TIM14_Init 0 */

  htim14.Instance = TIM14;
  htim14.Init.Prescaler = 84-1;
  htim14.Init.CounterMode = TIM_COUNTERMODE_UP;
  htim14.Init.Period = 10000-1;
  htim14.Init.ClockDivision = TIM_CLOCKDIVISION_DIV1;
  htim14.Init.AutoReloadPreload = TIM_AUTORELOAD_PRELOAD_DISABLE;
  if (HAL_TIM_Base_Init(&htim14) != HAL_OK)
  {
    Error_Handler();
  }
  /* USER CODE BEGIN TIM14_Init 2 */
//	TIM14->DIER |= (1 << 0);   // CC1IE: Enable the Tim14 UG interrupt
//	NVIC->ISER[1] |= (1 << (45 - 32)); // TIM14_CC
//	TIM14->CR1 |= (1 << 0);	// CEN: Counter TIM14 enable
  /* USER CODE END TIM14_Init 2 */

}

static void MX_UART4_Init(void)
{

  huart4.Instance = UART4;
  huart4.Init.BaudRate = 230400;
  huart4.Init.WordLength = UART_WORDLENGTH_8B;
  huart4.Init.StopBits = UART_STOPBITS_1;
  huart4.Init.Parity = UART_PARITY_EVEN;
  huart4.Init.Mode = UART_MODE_TX_RX;
  huart4.Init.HwFlowCtl = UART_HWCONTROL_NONE;
  huart4.Init.OverSampling = UART_OVERSAMPLING_16;
  if (HAL_UART_Init(&huart4) != HAL_OK)
  {
    Error_Handler();
  }

}

static void MX_USART3_UART_Init(void)
{

  huart3.Instance = USART3;
  huart3.Init.BaudRate = 115200;
  huart3.Init.WordLength = UART_WORDLENGTH_8B;
  huart3.Init.StopBits = UART_STOPBITS_1;
  huart3.Init.Parity = UART_PARITY_NONE;
  huart3.Init.Mode = UART_MODE_TX_RX;
  huart3.Init.HwFlowCtl = UART_HWCONTROL_NONE;
  huart3.Init.OverSampling = UART_OVERSAMPLING_16;
  if (HAL_UART_Init(&huart3) != HAL_OK)
  {
    Error_Handler();
  }

}

static void MX_DMA_Init(void)
{

  /* DMA controller clock enable */
  __HAL_RCC_DMA2_CLK_ENABLE();

  /* DMA interrupt init */
  /* DMA2_Stream1_IRQn interrupt configuration */
  HAL_NVIC_SetPriority(DMA2_Stream1_IRQn, 0, 0);
  HAL_NVIC_EnableIRQ(DMA2_Stream1_IRQn);

}

static void MX_GPIO_Init(void)
{
  GPIO_InitTypeDef GPIO_InitStruct = {0};

  /* GPIO Ports Clock Enable */
  __HAL_RCC_GPIOC_CLK_ENABLE();
  __HAL_RCC_GPIOF_CLK_ENABLE();
  __HAL_RCC_GPIOH_CLK_ENABLE();
  __HAL_RCC_GPIOA_CLK_ENABLE();
  __HAL_RCC_GPIOB_CLK_ENABLE();
  __HAL_RCC_GPIOG_CLK_ENABLE();
  __HAL_RCC_GPIOD_CLK_ENABLE();
  __HAL_RCC_GPIOE_CLK_ENABLE();

  /*Configure GPIO pin Output Level */
  HAL_GPIO_WritePin(GPIOF, linear_DIR_Pin|GPIO_PIN_13|GPIO_PIN_14|GPIO_PIN_15, GPIO_PIN_RESET);

  /*Configure GPIO pin Output Level */
  HAL_GPIO_WritePin(linear_goback_GPIO_Port, linear_goback_Pin, GPIO_PIN_RESET);

  /*Configure GPIO pin Output Level */
  HAL_GPIO_WritePin(GPIOB, LD1_Pin|DC_M_GO_Y_Pin|DC_M_DIR_Y_Pin|LD3_Pin
                          |LD2_Pin, GPIO_PIN_RESET);

  /*Configure GPIO pin Output Level */
  HAL_GPIO_WritePin(GPIOG, DC_M_GO_X_Pin|GPIO_PIN_2|GPIO_PIN_3, GPIO_PIN_RESET);

  /*Configure GPIO pin Output Level */
  HAL_GPIO_WritePin(GPIOD, GPIO_PIN_7, GPIO_PIN_RESET);

  /*Configure GPIO pin Output Level */
  HAL_GPIO_WritePin(DC_M_DIR_X_GPIO_Port, DC_M_DIR_X_Pin, GPIO_PIN_RESET);

  /*Configure GPIO pin : USER_Btn_Pin */
  GPIO_InitStruct.Pin = USER_Btn_Pin;
  GPIO_InitStruct.Mode = GPIO_MODE_IT_RISING;
  GPIO_InitStruct.Pull = GPIO_NOPULL;
  HAL_GPIO_Init(USER_Btn_GPIO_Port, &GPIO_InitStruct);

  /*Configure GPIO pin : BALL_MIN_Pin */
  GPIO_InitStruct.Pin = BALL_MIN_Pin;
  GPIO_InitStruct.Mode = GPIO_MODE_IT_RISING;
  GPIO_InitStruct.Pull = GPIO_NOPULL;
  HAL_GPIO_Init(BALL_MIN_GPIO_Port, &GPIO_InitStruct);

  /*Configure GPIO pins : linear_DIR_Pin PF13 PF14 PF15 */
  GPIO_InitStruct.Pin = linear_DIR_Pin|GPIO_PIN_13|GPIO_PIN_14|GPIO_PIN_15;
  GPIO_InitStruct.Mode = GPIO_MODE_OUTPUT_PP;
  GPIO_InitStruct.Pull = GPIO_NOPULL;
  GPIO_InitStruct.Speed = GPIO_SPEED_FREQ_LOW;
  HAL_GPIO_Init(GPIOF, &GPIO_InitStruct);

  /*Configure GPIO pin : linear_goback_Pin */
  GPIO_InitStruct.Pin = linear_goback_Pin;
  GPIO_InitStruct.Mode = GPIO_MODE_OUTPUT_PP;
  GPIO_InitStruct.Pull = GPIO_NOPULL;
  GPIO_InitStruct.Speed = GPIO_SPEED_FREQ_LOW;
  HAL_GPIO_Init(linear_goback_GPIO_Port, &GPIO_InitStruct);

  /*Configure GPIO pins : LD1_Pin DC_M_GO_Y_Pin LD3_Pin LD2_Pin */
  GPIO_InitStruct.Pin = LD1_Pin|DC_M_GO_Y_Pin|LD3_Pin|LD2_Pin;
  GPIO_InitStruct.Mode = GPIO_MODE_OUTPUT_PP;
  GPIO_InitStruct.Pull = GPIO_NOPULL;
  GPIO_InitStruct.Speed = GPIO_SPEED_FREQ_LOW;
  HAL_GPIO_Init(GPIOB, &GPIO_InitStruct);

  /*Configure GPIO pins : DC_M_GO_X_Pin PG2 PG3 */
  GPIO_InitStruct.Pin = DC_M_GO_X_Pin|GPIO_PIN_2|GPIO_PIN_3;
  GPIO_InitStruct.Mode = GPIO_MODE_OUTPUT_PP;
  GPIO_InitStruct.Pull = GPIO_NOPULL;
  GPIO_InitStruct.Speed = GPIO_SPEED_FREQ_LOW;
  HAL_GPIO_Init(GPIOG, &GPIO_InitStruct);

  /*Configure GPIO pin : DC_M_DIR_Y_Pin */
  GPIO_InitStruct.Pin = DC_M_DIR_Y_Pin;
  GPIO_InitStruct.Mode = GPIO_MODE_OUTPUT_PP;
  GPIO_InitStruct.Pull = GPIO_NOPULL;
  GPIO_InitStruct.Speed = GPIO_SPEED_FREQ_VERY_HIGH;
  HAL_GPIO_Init(DC_M_DIR_Y_GPIO_Port, &GPIO_InitStruct);

  /*Configure GPIO pin : USB_OverCurrent_Pin */
  GPIO_InitStruct.Pin = USB_OverCurrent_Pin;
  GPIO_InitStruct.Mode = GPIO_MODE_INPUT;
  GPIO_InitStruct.Pull = GPIO_NOPULL;
  HAL_GPIO_Init(USB_OverCurrent_GPIO_Port, &GPIO_InitStruct);

  /*Configure GPIO pins : BALL_MAX_Pin BALL_MID_Pin */
  GPIO_InitStruct.Pin = BALL_MAX_Pin|BALL_MID_Pin;
  GPIO_InitStruct.Mode = GPIO_MODE_IT_FALLING;
  GPIO_InitStruct.Pull = GPIO_NOPULL;
  HAL_GPIO_Init(GPIOD, &GPIO_InitStruct);

  /*Configure GPIO pins : PD2 PD6 */
  GPIO_InitStruct.Pin = GPIO_PIN_2|GPIO_PIN_6;
  GPIO_InitStruct.Mode = GPIO_MODE_INPUT;
  GPIO_InitStruct.Pull = GPIO_NOPULL;
  HAL_GPIO_Init(GPIOD, &GPIO_InitStruct);

  /*Configure GPIO pin : PD7 */
  GPIO_InitStruct.Pin = GPIO_PIN_7;
  GPIO_InitStruct.Mode = GPIO_MODE_OUTPUT_PP;
  GPIO_InitStruct.Pull = GPIO_NOPULL;
  GPIO_InitStruct.Speed = GPIO_SPEED_FREQ_LOW;
  HAL_GPIO_Init(GPIOD, &GPIO_InitStruct);

  /*Configure GPIO pins : sensor_X_Pin sensor_Y_Pin */
  GPIO_InitStruct.Pin = sensor_X_Pin|sensor_Y_Pin;
  GPIO_InitStruct.Mode = GPIO_MODE_INPUT;
  GPIO_InitStruct.Pull = GPIO_NOPULL;
  HAL_GPIO_Init(GPIOB, &GPIO_InitStruct);

  /*Configure GPIO pin : DC_M_DIR_X_Pin */
  GPIO_InitStruct.Pin = DC_M_DIR_X_Pin;
  GPIO_InitStruct.Mode = GPIO_MODE_OUTPUT_PP;
  GPIO_InitStruct.Pull = GPIO_NOPULL;
  GPIO_InitStruct.Speed = GPIO_SPEED_FREQ_VERY_HIGH;
  HAL_GPIO_Init(DC_M_DIR_X_GPIO_Port, &GPIO_InitStruct);

  /* EXTI interrupt init*/
  HAL_NVIC_SetPriority(EXTI0_IRQn, 2, 0);
  HAL_NVIC_EnableIRQ(EXTI0_IRQn);

  HAL_NVIC_SetPriority(EXTI1_IRQn, 2, 0);
  HAL_NVIC_EnableIRQ(EXTI1_IRQn);

  HAL_NVIC_SetPriority(EXTI2_IRQn, 2, 0);
  HAL_NVIC_EnableIRQ(EXTI2_IRQn);

  HAL_NVIC_SetPriority(EXTI15_10_IRQn, 0, 0);
  HAL_NVIC_EnableIRQ(EXTI15_10_IRQn);

}

/* USER CODE BEGIN 4 */

float input_encodor_X_GO = 34816 * 2;
float input_encodor_X_BACK = -34816 * 2;

float input_encodor_Y_GO = 10880 * 2;
float input_encodor_Y_BACK = -10880 * 2;

PUTCHAR_PROTOTYPE  //테라텀
{
	HAL_UART_Transmit(&huart3, (uint8_t*) &ch, 1, HAL_MAX_DELAY);
	return ch;
}

void SerialSendChar_PC(uint8_t Ch1) // 1문자 보내기 함수
{
	// USART_SR_TXE(1<<7)=0?, TX Buffer NOT Empty?
	// TX buffer Empty되지 않으면 계속 대기(송신 가능한 상태까지 대기)
	while ((USART3->SR & 1 << 7) == RESET)
		;
	USART3->DR = (Ch1 & 0x01FF);	// 전송 (최대 9bit 이므로 0x01FF과 masking)
}

void SerialSendChar_ESP(uint8_t Ch2) // 1문자 보내기 함수
{
	while ((UART4->SR & 1 << 7) == RESET)
		;
	UART4->DR = (Ch2 & 0x01FF);
}

extern uint16_t ADC3_value[3];

extern float battery_V;
uint16_t RPM_uint16;
uint16_t battery_uint16;

extern float RPM_X;
uint8_t buffer[256];

void STM32_to_ESP(void)                    // ESP로 데이터 보냄
{

#define test 1
#if test ==1
//	GPIOB->ODR ^= 1 << 7;
	RPM_uint16 = RPM_X * 10;
	battery_uint16 = battery_V * 100;

	SerialSendChar_ESP('?');

	//테스트

	if (ADC3_value[0] >= 1000 && ADC3_value[0] <= 4095) {

		sprintf((char*) buffer, "%d\n\r", ADC3_value[0]);
		//		HAL_UART_Transmit(&huart3, buffer, strlen((char*) buffer), 100);
		sprintf((char*) buffer, "%d\n\r", ADC3_value[0]);
		//		HAL_UART_Transmit(&huart3, buffer, strlen((char*) buffer), 100);
		sprintf((char*) buffer, "%d\n\r", ADC3_value[0]);
		//	HAL_UART_Transmit(&huart3, buffer, strlen((char*) buffer), 100);

		//배터리, 속도 전송
		sprintf((char*) buffer, "%d", ADC3_value[0]);
		HAL_UART_Transmit(&huart4, buffer, strlen((char*) buffer), 100);
		sprintf((char*) buffer, "%d", ADC3_value[0]);
		HAL_UART_Transmit(&huart4, buffer, strlen((char*) buffer), 100);
		sprintf((char*) buffer, "%d", ADC3_value[0]);
		HAL_UART_Transmit(&huart4, buffer, strlen((char*) buffer), 100);
	}

#elif test == 2
		 GPIOB->ODR ^= 1 << 7;
		 RPM_uint16 = RPM_X * 10;
		 battery_uint16 = battery_V * 100;

		 SerialSendChar_ESP('?');
		 sprintf((char*) buffer, "%d", battery_uint16);
		 HAL_UART_Transmit(&huart4, buffer, strlen((char*) buffer), 100);
		 sprintf((char*) buffer, "%d", RPM_uint16);
		 HAL_UART_Transmit(&huart4, buffer, strlen((char*) buffer), 100);
		 sprintf((char*) buffer, "%d", battery_uint16);
		 HAL_UART_Transmit(&huart4, buffer, strlen((char*) buffer), 100);
		 #endif

}

extern uint16_t shaft_pulse_cycle;
extern uint16_t ball_screw_pulse_cycle;

uint16_t ball_step = 100;
uint32_t downpart_step = 25;
extern uint32_t step_pulse_count_tim13;
extern uint16_t step_pulse_count_tim11;

void UART3_RX_PC_to_STM32(void) // UART3: STM32 <-> PC
{

	HAL_UART_Receive_IT(&huart3, &key_value, 1);
	printf("%d,^^ %c \r\n", key_value, key_value);

	switch (key_value) {
	case 'q':
		HAL_GPIO_WritePin(GPIOE, GPIO_PIN_0, 0);  //방향 go

		GPIOB->ODR |= 1 << 0;  //LD1

		break;

	case 'w':

		HAL_GPIO_WritePin(GPIOE, GPIO_PIN_0, 1);  //방향 back
		GPIOB->ODR &= ~1 << 0;  //LD1

		break;

	case '1':
		HAL_GPIO_WritePin(GPIOG, GPIO_PIN_0, 1);  //stop

		break;

	case '2':
		HAL_GPIO_WritePin(GPIOG, GPIO_PIN_0, 0);  //start

		break;

	case '3':
		TIM3->CCR1 = 400;

		break;

	case '4':
		TIM3->CCR1 = 1700;

		break;

	case '5':
		TIM3->CCR1 = 6000;

		break;

		/////////////////////////////////////////////////////////////////y축 이동

	case 'd':
		HAL_GPIO_WritePin(GPIOB, GPIO_PIN_10, 0);  //y축 방향 go

		GPIOB->ODR |= 1 << 0;  //LD1

		break;

	case 'f':

		HAL_GPIO_WritePin(GPIOB, GPIO_PIN_10, 1);  //y축 방향 back
		GPIOB->ODR &= ~1 << 0;  //LD1

		break;

	case 'a':
		HAL_GPIO_WritePin(GPIOB, GPIO_PIN_11, 1);  //stop

		break;

	case 's':
		HAL_GPIO_WritePin(GPIOB, GPIO_PIN_11, 0);  //start

		break;

	case 'e':
		TIM3->CCR2 = 400;

		break;

	case 'r':
		TIM3->CCR2 = 1700;

		break;
	case 't':
		TIM3->CCR2 = 6000;

		break;
		///////////////////////////////////////////////////////////////// x축 바퀴 PID

	case 'i':

		dc_motor_pid_X(34816);

		break;

	case 'o':
		dc_motor_pid_X(-34816);

		break;

	case 'p':
		dc_motor_pid_X(input_encodor_X_GO);

		break;

	case '[':
		dc_motor_pid_X(input_encodor_X_BACK);

		break;
		////////////////////////////////////////////////////////////////x축 vt
	case 'I':  //30cm

		v_t_graph_DIR_GO_X(30);  //앞으로 30cm

		break;
	case 'O':

		v_t_graph_DIR_BACK_X(30); //뒤로 30cm

		break;
	case 'P':

		v_t_graph_DIR_GO_X(targetS_X_GO);  //앞으로

		break;
	case '{':

		v_t_graph_DIR_BACK_X(targetS_X_BACK); //뒤로

		break;
		///////////////////////////////////////////////////////// y축  바퀴  PID

	case '8':

		dc_motor_pid_Y(10880);
		break;

	case '9':
		dc_motor_pid_Y(-10880);
		break;

	case '0':
		dc_motor_pid_Y(input_encodor_Y_GO);
		break;
	case '-':
		dc_motor_pid_Y(input_encodor_Y_BACK);
		break;
//////////////////////////////////////////////////////////      Y  VT
	case '*':

		v_t_graph_DIR_GO_Y(30);   //Y축 vt 앞
		break;

	case '(':
		v_t_graph_DIR_BACK_Y(30);   //뒤
		break;

	case ')':
		v_t_graph_DIR_GO_Y(targetS_Y_GO);
		break;

	case '_':
		v_t_graph_DIR_BACK_Y(targetS_Y_BACK);
		break;

		//////////////////////////////////////////////////////z축 볼스크류 스텝모터,  0625수정: 동작시에만 enable
	case 'j':
		HAL_GPIO_WritePin(GPIOG, GPIO_PIN_2, 1);  //정지
		step_pulse_count_tim11 = 0;
		break;

	case 'k':
		HAL_GPIO_WritePin(GPIOG, GPIO_PIN_2, 0);  //출발

		break;

	case 'l':   //cw 미소 이동             시계방향  위쪽
		z_axis_UP(ball_step, ball_screw_pulse_cycle);

		break;
	case ';':    //ccw 미소 이동           반시계방향  아래쪽
		z_axis_DOWN(ball_step, ball_screw_pulse_cycle);

		break;

	case 'L':   //cw              시계방향  위쪽
		z_axis_UP(430 * 6, ball_screw_pulse_cycle);

		break;
	case ':':    //ccw            반시계방향  아래쪽

		z_axis_DOWN(430 * 6, ball_screw_pulse_cycle);

		break;

		/////////////////////////////////////////////////////////////////////다운파트 축 스텝모터
	case 'm':
		HAL_GPIO_WritePin(GPIOF, GPIO_PIN_13, 1);  //정지
		step_pulse_count_tim13 = 0;
		break;

	case ',':
		HAL_GPIO_WritePin(GPIOF, GPIO_PIN_13, 0);  //출발

		break;

	case 'M':  //가속
		down_part_UP_accel(downpart_step);

		break;
	case '<': //가속
		down_part_DOWN_accel(downpart_step);

		break;
	case '.':

		down_part_UP(downpart_step, shaft_pulse_cycle);

		break;

	case '/':

		down_part_DOWN(downpart_step, shaft_pulse_cycle);

		break;
	case '>':

		down_part_UP(400, shaft_pulse_cycle);

		break;

	case '?':

		down_part_DOWN(400, shaft_pulse_cycle);

		break;
//////////////////////////////////////////////////////////////////////////////////리니어 모터
//	case 'z':
//
//		HAL_GPIO_WritePin(GPIOF, GPIO_PIN_4, 1); //정지
//
//		break;
//
//	case 'x':
//
//		HAL_GPIO_WritePin(GPIOF, GPIO_PIN_4, 0);  //출발
//
//		break;
//	case 'c':
//
//		HAL_GPIO_WritePin(GPIOC, GPIO_PIN_2, 1);   //방향 후진
//
//		break;
//
//	case 'v':
//
//		HAL_GPIO_WritePin(GPIOC, GPIO_PIN_2, 0);  //방향  전진
//
//		break;
//
//	case 'b': //방향  전진
//
//		TIM3->CCR4 = 1500;
//
//		break;
//	case 'n': //방향  전진
//
//		TIM3->CCR4 = 4200;
//
//		break;
//	case 'h': //방향  전진
//
//		TIM3->CCR4 = 8000;
//
//		break;

	case 'z': //방향 초 전진

		linear_motor_GO(go_time);

		break;
	case 'x': //방향 초 전진

		linear_motor_BACK(back_time);

		break;

		/////////////////////////////////////////////////////////수동 조작
	case '!':  // (2,1)
		FALSE_Init();
		Manual_mode.target_2_1 = TRUE;

		break;
	case '@': //  (3,1)
		FALSE_Init();
		Manual_mode.target_3_1 = TRUE;

		break;

	case '#':  //(1,2)
		FALSE_Init();
		Manual_mode.target_1_2 = TRUE;

		break;

	}

}

void UART4_RX_ESP_to_STM32(void) // UART4: esp <-> stm32
{
	HAL_UART_Receive_IT(&huart4, &data, 1);

	printf("%d -- %c \r\n", data, data);
	switch (data) {
	case '0':
		v_t_graph_DIR_GO_X(targetS_X_GO);  //앞으로
		break;

	case '1':
		v_t_graph_DIR_BACK_X(targetS_X_BACK); //뒤로
		break;

	case '2':
		v_t_graph_DIR_GO_Y(targetS_Y_GO);

		break;

	case '3':

		v_t_graph_DIR_BACK_Y(targetS_Y_BACK);
		break;

	case '4':

		z_axis_UP(400 * 6, ball_screw_pulse_cycle);
		break;

	case '5':
		z_axis_DOWN(400 * 6, ball_screw_pulse_cycle);
		break;

	case '6':

		break;

	}

}

/* USER CODE END 4 */

void Error_Handler(void)
{
	__disable_irq();
	while (1) {
	}
}
